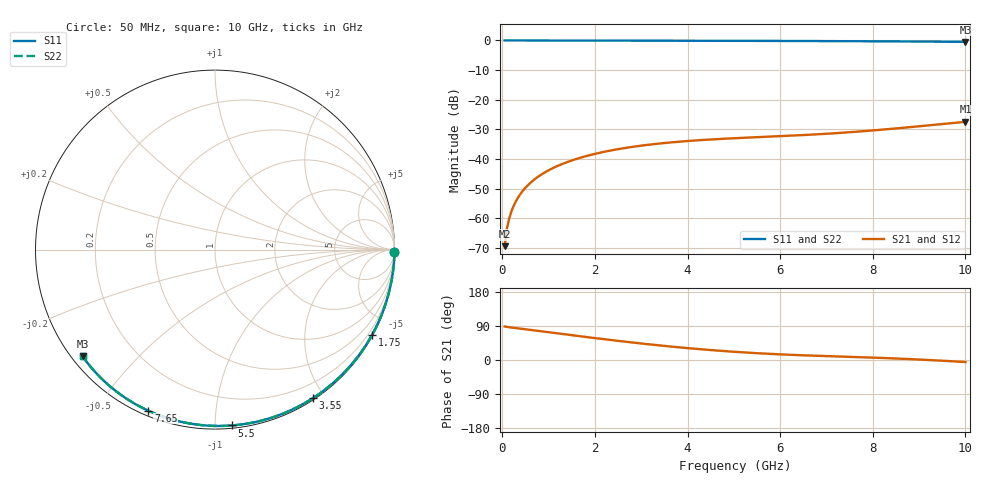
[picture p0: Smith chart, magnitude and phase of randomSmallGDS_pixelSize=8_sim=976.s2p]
! freq	dB(S11)	phase(S11)	dB(S12)	phase(S12)
!  dB(S21)	phase(S21)	dB(S22)	phase(S22)
!S-par simulation data
#  GHz  S  DB  R 50
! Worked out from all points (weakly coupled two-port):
!   200 points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, 50 MHz to 10 GHz, reference 50 ohm
!   highest |S21| = -27.43 dB at 10 GHz (marker M1); lowest = -69.3 dB at 50 MHz (marker M2)
!   lowest |S11| = -0.5 dB at 10 GHz (marker M3), VSWR 37.20, Z = 1.51 - j17.7 ohm
!   |S11| at or under -10 dB: nowhere
!   |S22| runs from -0.5 to 0.0 dB; largest |S21 - S12| = 0
!   S11 on the Smith chart (normalised r, x): 50 MHz: open; 1.75 GHz: 0.03, -3.91; 3.55 GHz: 0.02, -1.86; 5.5 GHz: 0.02, -1.10; 7.65 GHz: 0.02, -0.67; 10 GHz: 0.03, -0.35
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0.05  -0.00 -0.8  -69.34 88.5  -69.34 88.5  -0.00 -0.8
0.1  -0.00 -1.7  -63.40 87.3  -63.40 87.3  -0.00 -1.7
0.15  -0.00 -2.5  -59.94 86.5  -59.94 86.5  -0.00 -2.5
0.2  -0.00 -3.3  -57.49 85.7  -57.49 85.7  -0.00 -3.3
0.25  -0.00 -4.2  -55.59 85.0  -55.59 85.0  -0.00 -4.2
0.35  -0.00 -5.8  -52.70 83.5  -52.70 83.5  -0.00 -5.8
0.5  -0.01 -8.3  -49.65 81.2  -49.65 81.2  -0.01 -8.3
0.7  -0.01 -11.6  -46.77 78.1  -46.77 78.1  -0.01 -11.6
1  -0.02 -16.5  -43.77 73.3  -43.77 73.3  -0.02 -16.5
1.35  -0.03 -22.2  -41.29 67.8  -41.29 67.8  -0.03 -22.2
1.75  -0.04 -28.7  -39.24 61.6  -39.24 61.6  -0.04 -28.7
2.5  -0.05 -40.5  -36.63 50.5  -36.63 50.5  -0.05 -40.6
3.4  -0.07 -54.4  -34.73 38.4  -34.73 38.4  -0.07 -54.4
3.55  -0.08 -56.6  -34.49 36.6  -34.49 36.6  -0.08 -56.6
4.3  -0.10 -67.6  -33.57 28.2  -33.57 28.2  -0.10 -67.7
5.05  -0.12 -78.3  -32.93 21.3  -32.93 21.3  -0.12 -78.3
5.5  -0.14 -84.5  -32.61 18.0  -32.61 18.0  -0.14 -84.5
6.7  -0.19 -100.4  -31.72 11.5  -31.72 11.5  -0.19 -100.5
7.65  -0.25 -112.5  -30.76 7.8  -30.76 7.8  -0.25 -112.5
8.35  -0.31 -121.1  -29.87 4.7  -29.87 4.7  -0.31 -121.2
9.2  -0.38 -131.4  -28.64 0.0  -28.64 0.0  -0.38 -131.5
10  -0.47 -141.1  -27.43 -5.4  -27.43 -5.4  -0.47 -141.1
